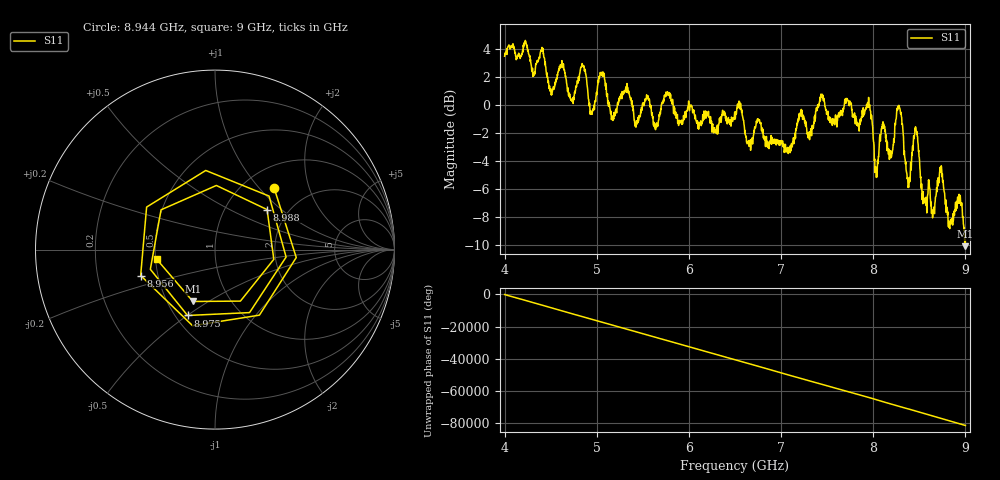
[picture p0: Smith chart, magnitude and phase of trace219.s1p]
! Created with skrf 1.8.0 (http://scikit-rf.org).
# Hz S RI R 50.0
!freq ReS11 ImS11
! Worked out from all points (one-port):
!   1601 points, 4 GHz to 9 GHz, reference 50 ohm
!   lowest |S11| = -10.1 dB at 8.997 GHz (marker M1), VSWR 1.92, Z = 33.5 - j21.5 ohm
!   |S11| at or under -10 dB: 8.995913 GHz to 8.997429 GHz (1.517 MHz wide, 0.0169 % of centre)
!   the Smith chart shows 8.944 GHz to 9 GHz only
!   S11 on the Smith chart (normalised r, x): 8.944 GHz: 1.36, +1.21; 8.956 GHz: 0.40, -0.14; 8.975 GHz: 0.58, -0.50; 8.988 GHz: 1.57, +0.81; 9 GHz: 0.51, -0.06
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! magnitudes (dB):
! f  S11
! 4 GHz  3.5
! 4.509 GHz  0.8
! 4.625 GHz  2.7
! 4.728 GHz  0.3
! 4.856 GHz  2.7
! 4.95 GHz  -0.7
! 5.056 GHz  2.1
! 5.166 GHz  -0.8
! 5.25 GHz  0.6
! 5.875 GHz  -0.7
! 6.5 GHz  -0.8
! 7.125 GHz  -2.6
! 7.441 GHz  0.8
! 7.75 GHz  0.1
! 7.959 GHz  0.0
! 8.038 GHz  -4.7
! 8.281 GHz  -0.1
! 8.375 GHz  -5.4
! 8.462 GHz  -1.7
! 8.556 GHz  -6.8
! 8.728 GHz  -4.5
! 8.838 GHz  -8.2
! 8.944 GHz  -6.4
! 8.956 GHz  -7.2
! 8.975 GHz  -8.0
! 8.988 GHz  -8.7
! 8.997 GHz  -10.1
! 9 GHz  -9.6
